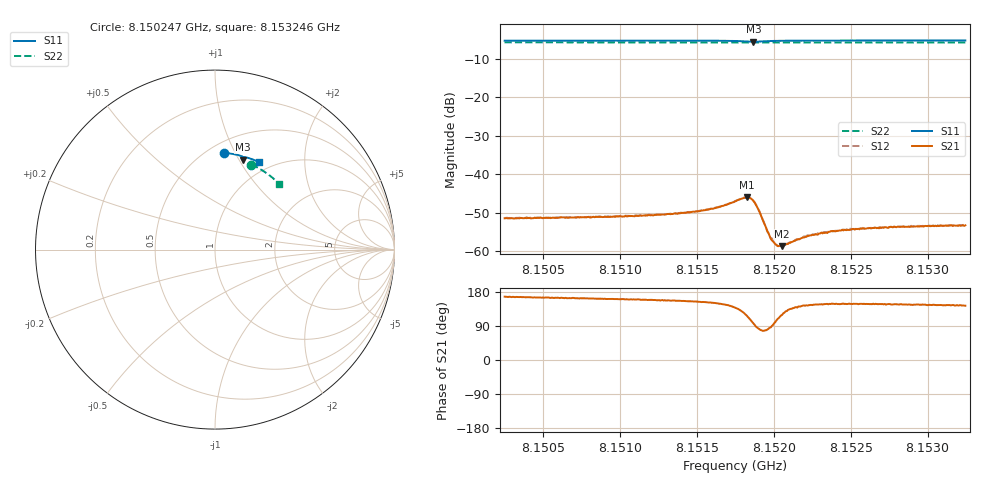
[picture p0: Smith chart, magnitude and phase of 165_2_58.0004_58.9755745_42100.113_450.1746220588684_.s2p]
#  HZ  S  RI  R  50.00
! Rohde & Schwarz Vector Network Analyzer
! Rohde-Schwarz,ZNB20-2Port,1311601062101988,3.16
! Created: UTC 3/21/2024, 12:57:41 AM
! freq[Hz]  re:S11  im:S11  re:S21  im:S21  re:S12  im:S12  re:S22  im:S22
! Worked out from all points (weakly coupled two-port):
!   401 points, 8.150247 GHz to 8.153246 GHz, reference 50 ohm
!   highest |S21| = -46.04 dB at 8.151822 GHz (marker M1); lowest = -58.7 dB at 8.152054 GHz (marker M2)
!   lowest |S11| = -5.6 dB at 8.151866 GHz (marker M3), VSWR 3.21, Z = 37.4 + j51.9 ohm
!   |S11| at or under -10 dB: nowhere
!   |S22| runs from -5.8 to -5.8 dB; largest |S21 - S12| = 0.00012
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8.1502472e9  0.0489 0.5387  -0.0026 0.000592  -0.00264 0.000648  0.2021 0.4741
8.1507495e9  0.0842 0.5352  -0.00263 0.000818  -0.00267 0.000878  0.2313 0.4601
8.1512518e9  0.1194 0.5289  -0.00276 0.00112  -0.00275 0.00117  0.2593 0.4441
8.1515516e9  0.1417 0.5231  -0.00303 0.00156  -0.00302 0.00164  0.2758 0.4335
8.1516341e9  0.1483 0.5207  -0.00318 0.00188  -0.00317 0.00196  0.2802 0.4305
8.1517465e9  0.1576 0.5139  -0.00331 0.00294  -0.00331 0.00303  0.2861 0.4261
8.1518215e9  0.1593 0.5047  -0.00232 0.00442  -0.0023 0.00448  0.2897 0.4233
8.151844e9  0.1571 0.5024  -0.00147 0.00466  -0.00141 0.00474  0.2907 0.4224
8.1518665e9  0.1539 0.5019  -0.000506 0.00447  -0.000434 0.00448  0.2916 0.4217
8.151889e9  0.1512 0.5039  0.00025 0.0038  0.000323 0.00385  0.2928 0.421
8.151904e9  0.1504 0.5061  0.000468 0.00326  0.000515 0.00332  0.2935 0.4206
8.1519639e9  0.1541 0.5127  0.00023 0.00171  0.000253 0.00171  0.2966 0.4186
8.1519864e9  0.1563 0.5139  4.9e-06 0.00138  2.9e-05 0.00147  0.2981 0.4176
8.1520089e9  0.1588 0.5146  -0.00022 0.00121  -0.000268 0.00122  0.2991 0.4169
8.1520239e9  0.1604 0.5149  -0.000364 0.0011  -0.000312 0.00112  0.2999 0.4164
8.1520539e9  0.1634 0.5152  -0.000569 0.00101  -0.000582 0.00103  0.3016 0.4153
8.1522038e9  0.1762 0.5134  -0.00123 0.00091  -0.00124 0.000922  0.3092 0.4092
8.1522488e9  0.1798 0.5125  -0.00133 0.000934  -0.00135 0.000943  0.3116 0.4076
8.1523013e9  0.1836 0.5113  -0.00142 0.000932  -0.00144 0.000958  0.3143 0.4054
8.1524587e9  0.1949 0.5078  -0.00161 0.001  -0.00158 0.00102  0.3219 0.399
8.1527511e9  0.2147 0.5006  -0.00175 0.0011  -0.00169 0.00114  0.336 0.3867
8.1532459e9  0.2465 0.4866  -0.00174 0.00129  -0.00171 0.0013  0.3587 0.3649
